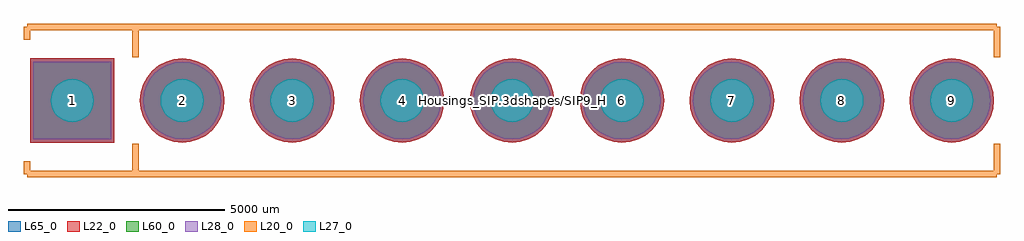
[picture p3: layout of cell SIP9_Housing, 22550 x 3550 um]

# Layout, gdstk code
import gdstk
lib = gdstk.Library(unit=1e-6, precision=1e-09)
def R(c, l, rs):  # rectangles x0, y0, x1, y1
    for r in rs: c.add(gdstk.rectangle(r[:2], r[2:], *l))
def P(c, l, *ps):  # polygons
    for p in ps: c.add(gdstk.Polygon(p, *l))
L20_0 = (20, 0)
L22_0 = (22, 0)
L27_0 = (27, 0)
L28_0 = (28, 0)
L60_0 = (60, 0)
L65_0 = (65, 0)

sip9_housing = lib.new_cell('SIP9_Housing')
R(sip9_housing, L22_0, [(-11135,-975,-9185,975)])
P(sip9_housing, L22_0, [(11135,0),(11116.266,190.213),(11060.783,373.116),(10970.683,541.681),(10849.429,689.429),(10701.681,810.683),(10533.116,900.783),(10350.213,956.266),(10160,975),(9969.787,956.266),(9786.884,900.783),(9618.319,810.683),(9470.571,689.429),(9349.317,541.681),(9259.217,373.116),(9203.734,190.213),(9185,0),(9203.734,-190.213),(9259.217,-373.116),(9349.317,-541.681),(9470.571,-689.429),(9618.319,-810.683),(9786.884,-900.783),(9969.787,-956.266),(10160,-975),(10350.213,-956.266),(10533.116,-900.783),(10701.681,-810.683),(10849.429,-689.429),(10970.683,-541.681),(11060.783,-373.116),(11116.266,-190.213)],
  [(8595,0),(8576.266,190.213),(8520.783,373.116),(8430.683,541.681),(8309.429,689.429),(8161.681,810.683),(7993.116,900.783),(7810.213,956.266),(7620,975),(7429.787,956.266),(7246.884,900.783),(7078.319,810.683),(6930.571,689.429),(6809.317,541.681),(6719.217,373.116),(6663.734,190.213),(6645,0),(6663.734,-190.213),(6719.217,-373.116),(6809.317,-541.681),(6930.571,-689.429),(7078.319,-810.683),(7246.884,-900.783),(7429.787,-956.266),(7620,-975),(7810.213,-956.266),(7993.116,-900.783),(8161.681,-810.683),(8309.429,-689.429),(8430.683,-541.681),(8520.783,-373.116),(8576.266,-190.213)],
  [(6055,0),(6036.266,190.213),(5980.783,373.116),(5890.683,541.681),(5769.429,689.429),(5621.681,810.683),(5453.116,900.783),(5270.213,956.266),(5080,975),(4889.787,956.266),(4706.884,900.783),(4538.319,810.683),(4390.571,689.429),(4269.317,541.681),(4179.217,373.116),(4123.734,190.213),(4105,0),(4123.734,-190.213),(4179.217,-373.116),(4269.317,-541.681),(4390.571,-689.429),(4538.319,-810.683),(4706.884,-900.783),(4889.787,-956.266),(5080,-975),(5270.213,-956.266),(5453.116,-900.783),(5621.681,-810.683),(5769.429,-689.429),(5890.683,-541.681),(5980.783,-373.116),(6036.266,-190.213)],
  [(3515,0),(3496.266,190.213),(3440.783,373.116),(3350.683,541.681),(3229.429,689.429),(3081.681,810.683),(2913.116,900.783),(2730.213,956.266),(2540,975),(2349.787,956.266),(2166.884,900.783),(1998.319,810.683),(1850.571,689.429),(1729.317,541.681),(1639.217,373.116),(1583.734,190.213),(1565,0),(1583.734,-190.213),(1639.217,-373.116),(1729.317,-541.681),(1850.571,-689.429),(1998.319,-810.683),(2166.884,-900.783),(2349.787,-956.266),(2540,-975),(2730.213,-956.266),(2913.116,-900.783),(3081.681,-810.683),(3229.429,-689.429),(3350.683,-541.681),(3440.783,-373.116),(3496.266,-190.213)],
  [(975,0),(956.266,190.213),(900.783,373.116),(810.683,541.681),(689.429,689.429),(541.681,810.683),(373.116,900.783),(190.213,956.266),(0,975),(-190.213,956.266),(-373.116,900.783),(-541.681,810.683),(-689.429,689.429),(-810.683,541.681),(-900.783,373.116),(-956.266,190.213),(-975,0),(-956.266,-190.213),(-900.783,-373.116),(-810.683,-541.681),(-689.429,-689.429),(-541.681,-810.683),(-373.116,-900.783),(-190.213,-956.266),(0,-975),(190.213,-956.266),(373.116,-900.783),(541.681,-810.683),(689.429,-689.429),(810.683,-541.681),(900.783,-373.116),(956.266,-190.213)],
  [(-1565,0),(-1583.734,190.213),(-1639.217,373.116),(-1729.317,541.681),(-1850.571,689.429),(-1998.319,810.683),(-2166.884,900.783),(-2349.787,956.266),(-2540,975),(-2730.213,956.266),(-2913.116,900.783),(-3081.681,810.683),(-3229.429,689.429),(-3350.683,541.681),(-3440.783,373.116),(-3496.266,190.213),(-3515,0),(-3496.266,-190.213),(-3440.783,-373.116),(-3350.683,-541.681),(-3229.429,-689.429),(-3081.681,-810.683),(-2913.116,-900.783),(-2730.213,-956.266),(-2540,-975),(-2349.787,-956.266),(-2166.884,-900.783),(-1998.319,-810.683),(-1850.571,-689.429),(-1729.317,-541.681),(-1639.217,-373.116),(-1583.734,-190.213)],
  [(-4105,0),(-4123.734,190.213),(-4179.217,373.116),(-4269.317,541.681),(-4390.571,689.429),(-4538.319,810.683),(-4706.884,900.783),(-4889.787,956.266),(-5080,975),(-5270.213,956.266),(-5453.116,900.783),(-5621.681,810.683),(-5769.429,689.429),(-5890.683,541.681),(-5980.783,373.116),(-6036.266,190.213),(-6055,0),(-6036.266,-190.213),(-5980.783,-373.116),(-5890.683,-541.681),(-5769.429,-689.429),(-5621.681,-810.683),(-5453.116,-900.783),(-5270.213,-956.266),(-5080,-975),(-4889.787,-956.266),(-4706.884,-900.783),(-4538.319,-810.683),(-4390.571,-689.429),(-4269.317,-541.681),(-4179.217,-373.116),(-4123.734,-190.213)],
  [(-6645,0),(-6663.734,190.213),(-6719.217,373.116),(-6809.317,541.681),(-6930.571,689.429),(-7078.319,810.683),(-7246.884,900.783),(-7429.787,956.266),(-7620,975),(-7810.213,956.266),(-7993.116,900.783),(-8161.681,810.683),(-8309.429,689.429),(-8430.683,541.681),(-8520.783,373.116),(-8576.266,190.213),(-8595,0),(-8576.266,-190.213),(-8520.783,-373.116),(-8430.683,-541.681),(-8309.429,-689.429),(-8161.681,-810.683),(-7993.116,-900.783),(-7810.213,-956.266),(-7620,-975),(-7429.787,-956.266),(-7246.884,-900.783),(-7078.319,-810.683),(-6930.571,-689.429),(-6809.317,-541.681),(-6719.217,-373.116),(-6663.734,-190.213)])
P(sip9_housing, L27_0, [(10659.999,0),(10650.392,97.545),(10621.939,191.341),(10575.734,277.785),(10513.553,353.553),(10437.785,415.734),(10351.341,461.939),(10257.545,490.392),(10160,499.999),(10062.455,490.392),(9968.659,461.939),(9882.215,415.734),(9806.447,353.553),(9744.266,277.785),(9698.061,191.341),(9669.608,97.545),(9660.001,0),(9669.608,-97.545),(9698.061,-191.341),(9744.266,-277.785),(9806.447,-353.553),(9882.215,-415.734),(9968.659,-461.939),(10062.455,-490.392),(10160,-499.999),(10257.545,-490.392),(10351.341,-461.939),(10437.785,-415.734),(10513.553,-353.553),(10575.734,-277.785),(10621.939,-191.341),(10650.392,-97.545)],
  [(8119.999,0),(8110.392,97.545),(8081.939,191.341),(8035.734,277.785),(7973.553,353.553),(7897.785,415.734),(7811.341,461.939),(7717.545,490.392),(7620,499.999),(7522.455,490.392),(7428.659,461.939),(7342.215,415.734),(7266.447,353.553),(7204.266,277.785),(7158.061,191.341),(7129.608,97.545),(7120.001,0),(7129.608,-97.545),(7158.061,-191.341),(7204.266,-277.785),(7266.447,-353.553),(7342.215,-415.734),(7428.659,-461.939),(7522.455,-490.392),(7620,-499.999),(7717.545,-490.392),(7811.341,-461.939),(7897.785,-415.734),(7973.553,-353.553),(8035.734,-277.785),(8081.939,-191.341),(8110.392,-97.545)],
  [(5579.999,0),(5570.392,97.545),(5541.939,191.341),(5495.734,277.785),(5433.553,353.553),(5357.785,415.734),(5271.341,461.939),(5177.545,490.392),(5080,499.999),(4982.455,490.392),(4888.659,461.939),(4802.215,415.734),(4726.447,353.553),(4664.266,277.785),(4618.061,191.341),(4589.608,97.545),(4580.001,0),(4589.608,-97.545),(4618.061,-191.341),(4664.266,-277.785),(4726.447,-353.553),(4802.215,-415.734),(4888.659,-461.939),(4982.455,-490.392),(5080,-499.999),(5177.545,-490.392),(5271.341,-461.939),(5357.785,-415.734),(5433.553,-353.553),(5495.734,-277.785),(5541.939,-191.341),(5570.392,-97.545)],
  [(3039.999,0),(3030.392,97.545),(3001.939,191.341),(2955.734,277.785),(2893.553,353.553),(2817.785,415.734),(2731.341,461.939),(2637.545,490.392),(2540,499.999),(2442.455,490.392),(2348.659,461.939),(2262.215,415.734),(2186.447,353.553),(2124.266,277.785),(2078.061,191.341),(2049.608,97.545),(2040.001,0),(2049.608,-97.545),(2078.061,-191.341),(2124.266,-277.785),(2186.447,-353.553),(2262.215,-415.734),(2348.659,-461.939),(2442.455,-490.392),(2540,-499.999),(2637.545,-490.392),(2731.341,-461.939),(2817.785,-415.734),(2893.553,-353.553),(2955.734,-277.785),(3001.939,-191.341),(3030.392,-97.545)],
  [(499.999,0),(490.392,97.545),(461.939,191.341),(415.734,277.785),(353.553,353.553),(277.785,415.734),(191.341,461.939),(97.545,490.392),(0,499.999),(-97.545,490.392),(-191.341,461.939),(-277.785,415.734),(-353.553,353.553),(-415.734,277.785),(-461.939,191.341),(-490.392,97.545),(-499.999,0),(-490.392,-97.545),(-461.939,-191.341),(-415.734,-277.785),(-353.553,-353.553),(-277.785,-415.734),(-191.341,-461.939),(-97.545,-490.392),(0,-499.999),(97.545,-490.392),(191.341,-461.939),(277.785,-415.734),(353.553,-353.553),(415.734,-277.785),(461.939,-191.341),(490.392,-97.545)],
  [(-2040.001,0),(-2049.608,97.545),(-2078.061,191.341),(-2124.266,277.785),(-2186.447,353.553),(-2262.215,415.734),(-2348.659,461.939),(-2442.455,490.392),(-2540,499.999),(-2637.545,490.392),(-2731.341,461.939),(-2817.785,415.734),(-2893.553,353.553),(-2955.734,277.785),(-3001.939,191.341),(-3030.392,97.545),(-3039.999,0),(-3030.392,-97.545),(-3001.939,-191.341),(-2955.734,-277.785),(-2893.553,-353.553),(-2817.785,-415.734),(-2731.341,-461.939),(-2637.545,-490.392),(-2540,-499.999),(-2442.455,-490.392),(-2348.659,-461.939),(-2262.215,-415.734),(-2186.447,-353.553),(-2124.266,-277.785),(-2078.061,-191.341),(-2049.608,-97.545)],
  [(-4580.001,0),(-4589.608,97.545),(-4618.061,191.341),(-4664.266,277.785),(-4726.447,353.553),(-4802.215,415.734),(-4888.659,461.939),(-4982.455,490.392),(-5080,499.999),(-5177.545,490.392),(-5271.341,461.939),(-5357.785,415.734),(-5433.553,353.553),(-5495.734,277.785),(-5541.939,191.341),(-5570.392,97.545),(-5579.999,0),(-5570.392,-97.545),(-5541.939,-191.341),(-5495.734,-277.785),(-5433.553,-353.553),(-5357.785,-415.734),(-5271.341,-461.939),(-5177.545,-490.392),(-5080,-499.999),(-4982.455,-490.392),(-4888.659,-461.939),(-4802.215,-415.734),(-4726.447,-353.553),(-4664.266,-277.785),(-4618.061,-191.341),(-4589.608,-97.545)],
  [(-7120.001,0),(-7129.608,97.545),(-7158.061,191.341),(-7204.266,277.785),(-7266.447,353.553),(-7342.215,415.734),(-7428.659,461.939),(-7522.455,490.392),(-7620,499.999),(-7717.545,490.392),(-7811.341,461.939),(-7897.785,415.734),(-7973.553,353.553),(-8035.734,277.785),(-8081.939,191.341),(-8110.392,97.545),(-8119.999,0),(-8110.392,-97.545),(-8081.939,-191.341),(-8035.734,-277.785),(-7973.553,-353.553),(-7897.785,-415.734),(-7811.341,-461.939),(-7717.545,-490.392),(-7620,-499.999),(-7522.455,-490.392),(-7428.659,-461.939),(-7342.215,-415.734),(-7266.447,-353.553),(-7204.266,-277.785),(-7158.061,-191.341),(-7129.608,-97.545)],
  [(-9660.001,0),(-9669.608,97.545),(-9698.061,191.341),(-9744.266,277.785),(-9806.447,353.553),(-9882.215,415.734),(-9968.659,461.939),(-10062.455,490.392),(-10160,499.999),(-10257.545,490.392),(-10351.341,461.939),(-10437.785,415.734),(-10513.553,353.553),(-10575.734,277.785),(-10621.939,191.341),(-10650.392,97.545),(-10659.999,0),(-10650.392,-97.545),(-10621.939,-191.341),(-10575.734,-277.785),(-10513.553,-353.553),(-10437.785,-415.734),(-10351.341,-461.939),(-10257.545,-490.392),(-10160,-499.999),(-10062.455,-490.392),(-9968.659,-461.939),(-9882.215,-415.734),(-9806.447,-353.553),(-9744.266,-277.785),(-9698.061,-191.341),(-9669.608,-97.545)])
R(sip9_housing, L28_0, [(-11060,-900,-9260,900)])
P(sip9_housing, L28_0, [(11060,0),(11042.707,175.581),(10991.492,344.415),(10908.323,500.013),(10796.396,636.396),(10660.013,748.323),(10504.415,831.492),(10335.581,882.707),(10160,900),(9984.419,882.707),(9815.585,831.492),(9659.987,748.323),(9523.604,636.396),(9411.677,500.013),(9328.508,344.415),(9277.293,175.581),(9260,0),(9277.293,-175.581),(9328.508,-344.415),(9411.677,-500.013),(9523.604,-636.396),(9659.987,-748.323),(9815.585,-831.492),(9984.419,-882.707),(10160,-900),(10335.581,-882.707),(10504.415,-831.492),(10660.013,-748.323),(10796.396,-636.396),(10908.323,-500.013),(10991.492,-344.415),(11042.707,-175.581)],
  [(8520,0),(8502.707,175.581),(8451.492,344.415),(8368.323,500.013),(8256.396,636.396),(8120.013,748.323),(7964.415,831.492),(7795.581,882.707),(7620,900),(7444.419,882.707),(7275.585,831.492),(7119.987,748.323),(6983.604,636.396),(6871.677,500.013),(6788.508,344.415),(6737.293,175.581),(6720,0),(6737.293,-175.581),(6788.508,-344.415),(6871.677,-500.013),(6983.604,-636.396),(7119.987,-748.323),(7275.585,-831.492),(7444.419,-882.707),(7620,-900),(7795.581,-882.707),(7964.415,-831.492),(8120.013,-748.323),(8256.396,-636.396),(8368.323,-500.013),(8451.492,-344.415),(8502.707,-175.581)],
  [(5980,0),(5962.707,175.581),(5911.492,344.415),(5828.323,500.013),(5716.396,636.396),(5580.013,748.323),(5424.415,831.492),(5255.581,882.707),(5080,900),(4904.419,882.707),(4735.585,831.492),(4579.987,748.323),(4443.604,636.396),(4331.677,500.013),(4248.508,344.415),(4197.293,175.581),(4180,0),(4197.293,-175.581),(4248.508,-344.415),(4331.677,-500.013),(4443.604,-636.396),(4579.987,-748.323),(4735.585,-831.492),(4904.419,-882.707),(5080,-900),(5255.581,-882.707),(5424.415,-831.492),(5580.013,-748.323),(5716.396,-636.396),(5828.323,-500.013),(5911.492,-344.415),(5962.707,-175.581)],
  [(3440,0),(3422.707,175.581),(3371.492,344.415),(3288.323,500.013),(3176.396,636.396),(3040.013,748.323),(2884.415,831.492),(2715.581,882.707),(2540,900),(2364.419,882.707),(2195.585,831.492),(2039.987,748.323),(1903.604,636.396),(1791.677,500.013),(1708.508,344.415),(1657.293,175.581),(1640,0),(1657.293,-175.581),(1708.508,-344.415),(1791.677,-500.013),(1903.604,-636.396),(2039.987,-748.323),(2195.585,-831.492),(2364.419,-882.707),(2540,-900),(2715.581,-882.707),(2884.415,-831.492),(3040.013,-748.323),(3176.396,-636.396),(3288.323,-500.013),(3371.492,-344.415),(3422.707,-175.581)],
  [(900,0),(882.707,175.581),(831.492,344.415),(748.323,500.013),(636.396,636.396),(500.013,748.323),(344.415,831.492),(175.581,882.707),(0,900),(-175.581,882.707),(-344.415,831.492),(-500.013,748.323),(-636.396,636.396),(-748.323,500.013),(-831.492,344.415),(-882.707,175.581),(-900,0),(-882.707,-175.581),(-831.492,-344.415),(-748.323,-500.013),(-636.396,-636.396),(-500.013,-748.323),(-344.415,-831.492),(-175.581,-882.707),(0,-900),(175.581,-882.707),(344.415,-831.492),(500.013,-748.323),(636.396,-636.396),(748.323,-500.013),(831.492,-344.415),(882.707,-175.581)],
  [(-1640,0),(-1657.293,175.581),(-1708.508,344.415),(-1791.677,500.013),(-1903.604,636.396),(-2039.987,748.323),(-2195.585,831.492),(-2364.419,882.707),(-2540,900),(-2715.581,882.707),(-2884.415,831.492),(-3040.013,748.323),(-3176.396,636.396),(-3288.323,500.013),(-3371.492,344.415),(-3422.707,175.581),(-3440,0),(-3422.707,-175.581),(-3371.492,-344.415),(-3288.323,-500.013),(-3176.396,-636.396),(-3040.013,-748.323),(-2884.415,-831.492),(-2715.581,-882.707),(-2540,-900),(-2364.419,-882.707),(-2195.585,-831.492),(-2039.987,-748.323),(-1903.604,-636.396),(-1791.677,-500.013),(-1708.508,-344.415),(-1657.293,-175.581)],
  [(-4180,0),(-4197.293,175.581),(-4248.508,344.415),(-4331.677,500.013),(-4443.604,636.396),(-4579.987,748.323),(-4735.585,831.492),(-4904.419,882.707),(-5080,900),(-5255.581,882.707),(-5424.415,831.492),(-5580.013,748.323),(-5716.396,636.396),(-5828.323,500.013),(-5911.492,344.415),(-5962.707,175.581),(-5980,0),(-5962.707,-175.581),(-5911.492,-344.415),(-5828.323,-500.013),(-5716.396,-636.396),(-5580.013,-748.323),(-5424.415,-831.492),(-5255.581,-882.707),(-5080,-900),(-4904.419,-882.707),(-4735.585,-831.492),(-4579.987,-748.323),(-4443.604,-636.396),(-4331.677,-500.013),(-4248.508,-344.415),(-4197.293,-175.581)],
  [(-6720,0),(-6737.293,175.581),(-6788.508,344.415),(-6871.677,500.013),(-6983.604,636.396),(-7119.987,748.323),(-7275.585,831.492),(-7444.419,882.707),(-7620,900),(-7795.581,882.707),(-7964.415,831.492),(-8120.013,748.323),(-8256.396,636.396),(-8368.323,500.013),(-8451.492,344.415),(-8502.707,175.581),(-8520,0),(-8502.707,-175.581),(-8451.492,-344.415),(-8368.323,-500.013),(-8256.396,-636.396),(-8120.013,-748.323),(-7964.415,-831.492),(-7795.581,-882.707),(-7620,-900),(-7444.419,-882.707),(-7275.585,-831.492),(-7119.987,-748.323),(-6983.604,-636.396),(-6871.677,-500.013),(-6788.508,-344.415),(-6737.293,-175.581)])
R(sip9_housing, L60_0, [(-11060,-900,-9260,900)])
P(sip9_housing, L60_0, [(11060,0),(11042.707,175.581),(10991.492,344.415),(10908.323,500.013),(10796.396,636.396),(10660.013,748.323),(10504.415,831.492),(10335.581,882.707),(10160,900),(9984.419,882.707),(9815.585,831.492),(9659.987,748.323),(9523.604,636.396),(9411.677,500.013),(9328.508,344.415),(9277.293,175.581),(9260,0),(9277.293,-175.581),(9328.508,-344.415),(9411.677,-500.013),(9523.604,-636.396),(9659.987,-748.323),(9815.585,-831.492),(9984.419,-882.707),(10160,-900),(10335.581,-882.707),(10504.415,-831.492),(10660.013,-748.323),(10796.396,-636.396),(10908.323,-500.013),(10991.492,-344.415),(11042.707,-175.581)],
  [(8520,0),(8502.707,175.581),(8451.492,344.415),(8368.323,500.013),(8256.396,636.396),(8120.013,748.323),(7964.415,831.492),(7795.581,882.707),(7620,900),(7444.419,882.707),(7275.585,831.492),(7119.987,748.323),(6983.604,636.396),(6871.677,500.013),(6788.508,344.415),(6737.293,175.581),(6720,0),(6737.293,-175.581),(6788.508,-344.415),(6871.677,-500.013),(6983.604,-636.396),(7119.987,-748.323),(7275.585,-831.492),(7444.419,-882.707),(7620,-900),(7795.581,-882.707),(7964.415,-831.492),(8120.013,-748.323),(8256.396,-636.396),(8368.323,-500.013),(8451.492,-344.415),(8502.707,-175.581)],
  [(5980,0),(5962.707,175.581),(5911.492,344.415),(5828.323,500.013),(5716.396,636.396),(5580.013,748.323),(5424.415,831.492),(5255.581,882.707),(5080,900),(4904.419,882.707),(4735.585,831.492),(4579.987,748.323),(4443.604,636.396),(4331.677,500.013),(4248.508,344.415),(4197.293,175.581),(4180,0),(4197.293,-175.581),(4248.508,-344.415),(4331.677,-500.013),(4443.604,-636.396),(4579.987,-748.323),(4735.585,-831.492),(4904.419,-882.707),(5080,-900),(5255.581,-882.707),(5424.415,-831.492),(5580.013,-748.323),(5716.396,-636.396),(5828.323,-500.013),(5911.492,-344.415),(5962.707,-175.581)],
  [(3440,0),(3422.707,175.581),(3371.492,344.415),(3288.323,500.013),(3176.396,636.396),(3040.013,748.323),(2884.415,831.492),(2715.581,882.707),(2540,900),(2364.419,882.707),(2195.585,831.492),(2039.987,748.323),(1903.604,636.396),(1791.677,500.013),(1708.508,344.415),(1657.293,175.581),(1640,0),(1657.293,-175.581),(1708.508,-344.415),(1791.677,-500.013),(1903.604,-636.396),(2039.987,-748.323),(2195.585,-831.492),(2364.419,-882.707),(2540,-900),(2715.581,-882.707),(2884.415,-831.492),(3040.013,-748.323),(3176.396,-636.396),(3288.323,-500.013),(3371.492,-344.415),(3422.707,-175.581)],
  [(900,0),(882.707,175.581),(831.492,344.415),(748.323,500.013),(636.396,636.396),(500.013,748.323),(344.415,831.492),(175.581,882.707),(0,900),(-175.581,882.707),(-344.415,831.492),(-500.013,748.323),(-636.396,636.396),(-748.323,500.013),(-831.492,344.415),(-882.707,175.581),(-900,0),(-882.707,-175.581),(-831.492,-344.415),(-748.323,-500.013),(-636.396,-636.396),(-500.013,-748.323),(-344.415,-831.492),(-175.581,-882.707),(0,-900),(175.581,-882.707),(344.415,-831.492),(500.013,-748.323),(636.396,-636.396),(748.323,-500.013),(831.492,-344.415),(882.707,-175.581)],
  [(-1640,0),(-1657.293,175.581),(-1708.508,344.415),(-1791.677,500.013),(-1903.604,636.396),(-2039.987,748.323),(-2195.585,831.492),(-2364.419,882.707),(-2540,900),(-2715.581,882.707),(-2884.415,831.492),(-3040.013,748.323),(-3176.396,636.396),(-3288.323,500.013),(-3371.492,344.415),(-3422.707,175.581),(-3440,0),(-3422.707,-175.581),(-3371.492,-344.415),(-3288.323,-500.013),(-3176.396,-636.396),(-3040.013,-748.323),(-2884.415,-831.492),(-2715.581,-882.707),(-2540,-900),(-2364.419,-882.707),(-2195.585,-831.492),(-2039.987,-748.323),(-1903.604,-636.396),(-1791.677,-500.013),(-1708.508,-344.415),(-1657.293,-175.581)],
  [(-4180,0),(-4197.293,175.581),(-4248.508,344.415),(-4331.677,500.013),(-4443.604,636.396),(-4579.987,748.323),(-4735.585,831.492),(-4904.419,882.707),(-5080,900),(-5255.581,882.707),(-5424.415,831.492),(-5580.013,748.323),(-5716.396,636.396),(-5828.323,500.013),(-5911.492,344.415),(-5962.707,175.581),(-5980,0),(-5962.707,-175.581),(-5911.492,-344.415),(-5828.323,-500.013),(-5716.396,-636.396),(-5580.013,-748.323),(-5424.415,-831.492),(-5255.581,-882.707),(-5080,-900),(-4904.419,-882.707),(-4735.585,-831.492),(-4579.987,-748.323),(-4443.604,-636.396),(-4331.677,-500.013),(-4248.508,-344.415),(-4197.293,-175.581)],
  [(-6720,0),(-6737.293,175.581),(-6788.508,344.415),(-6871.677,500.013),(-6983.604,636.396),(-7119.987,748.323),(-7275.585,831.492),(-7444.419,882.707),(-7620,900),(-7795.581,882.707),(-7964.415,831.492),(-8120.013,748.323),(-8256.396,636.396),(-8368.323,500.013),(-8451.492,344.415),(-8502.707,175.581),(-8520,0),(-8502.707,-175.581),(-8451.492,-344.415),(-8368.323,-500.013),(-8256.396,-636.396),(-8120.013,-748.323),(-7964.415,-831.492),(-7795.581,-882.707),(-7620,-900),(-7444.419,-882.707),(-7275.585,-831.492),(-7119.987,-748.323),(-6983.604,-636.396),(-6871.677,-500.013),(-6788.508,-344.415),(-6737.293,-175.581)])
R(sip9_housing, L65_0, [(-11135,-975,-9185,975)])
P(sip9_housing, L65_0, [(11135,0),(11116.266,190.213),(11060.783,373.116),(10970.683,541.681),(10849.429,689.429),(10701.681,810.683),(10533.116,900.783),(10350.213,956.266),(10160,975),(9969.787,956.266),(9786.884,900.783),(9618.319,810.683),(9470.571,689.429),(9349.317,541.681),(9259.217,373.116),(9203.734,190.213),(9185,0),(9203.734,-190.213),(9259.217,-373.116),(9349.317,-541.681),(9470.571,-689.429),(9618.319,-810.683),(9786.884,-900.783),(9969.787,-956.266),(10160,-975),(10350.213,-956.266),(10533.116,-900.783),(10701.681,-810.683),(10849.429,-689.429),(10970.683,-541.681),(11060.783,-373.116),(11116.266,-190.213)],
  [(8595,0),(8576.266,190.213),(8520.783,373.116),(8430.683,541.681),(8309.429,689.429),(8161.681,810.683),(7993.116,900.783),(7810.213,956.266),(7620,975),(7429.787,956.266),(7246.884,900.783),(7078.319,810.683),(6930.571,689.429),(6809.317,541.681),(6719.217,373.116),(6663.734,190.213),(6645,0),(6663.734,-190.213),(6719.217,-373.116),(6809.317,-541.681),(6930.571,-689.429),(7078.319,-810.683),(7246.884,-900.783),(7429.787,-956.266),(7620,-975),(7810.213,-956.266),(7993.116,-900.783),(8161.681,-810.683),(8309.429,-689.429),(8430.683,-541.681),(8520.783,-373.116),(8576.266,-190.213)],
  [(6055,0),(6036.266,190.213),(5980.783,373.116),(5890.683,541.681),(5769.429,689.429),(5621.681,810.683),(5453.116,900.783),(5270.213,956.266),(5080,975),(4889.787,956.266),(4706.884,900.783),(4538.319,810.683),(4390.571,689.429),(4269.317,541.681),(4179.217,373.116),(4123.734,190.213),(4105,0),(4123.734,-190.213),(4179.217,-373.116),(4269.317,-541.681),(4390.571,-689.429),(4538.319,-810.683),(4706.884,-900.783),(4889.787,-956.266),(5080,-975),(5270.213,-956.266),(5453.116,-900.783),(5621.681,-810.683),(5769.429,-689.429),(5890.683,-541.681),(5980.783,-373.116),(6036.266,-190.213)],
  [(3515,0),(3496.266,190.213),(3440.783,373.116),(3350.683,541.681),(3229.429,689.429),(3081.681,810.683),(2913.116,900.783),(2730.213,956.266),(2540,975),(2349.787,956.266),(2166.884,900.783),(1998.319,810.683),(1850.571,689.429),(1729.317,541.681),(1639.217,373.116),(1583.734,190.213),(1565,0),(1583.734,-190.213),(1639.217,-373.116),(1729.317,-541.681),(1850.571,-689.429),(1998.319,-810.683),(2166.884,-900.783),(2349.787,-956.266),(2540,-975),(2730.213,-956.266),(2913.116,-900.783),(3081.681,-810.683),(3229.429,-689.429),(3350.683,-541.681),(3440.783,-373.116),(3496.266,-190.213)],
  [(975,0),(956.266,190.213),(900.783,373.116),(810.683,541.681),(689.429,689.429),(541.681,810.683),(373.116,900.783),(190.213,956.266),(0,975),(-190.213,956.266),(-373.116,900.783),(-541.681,810.683),(-689.429,689.429),(-810.683,541.681),(-900.783,373.116),(-956.266,190.213),(-975,0),(-956.266,-190.213),(-900.783,-373.116),(-810.683,-541.681),(-689.429,-689.429),(-541.681,-810.683),(-373.116,-900.783),(-190.213,-956.266),(0,-975),(190.213,-956.266),(373.116,-900.783),(541.681,-810.683),(689.429,-689.429),(810.683,-541.681),(900.783,-373.116),(956.266,-190.213)],
  [(-1565,0),(-1583.734,190.213),(-1639.217,373.116),(-1729.317,541.681),(-1850.571,689.429),(-1998.319,810.683),(-2166.884,900.783),(-2349.787,956.266),(-2540,975),(-2730.213,956.266),(-2913.116,900.783),(-3081.681,810.683),(-3229.429,689.429),(-3350.683,541.681),(-3440.783,373.116),(-3496.266,190.213),(-3515,0),(-3496.266,-190.213),(-3440.783,-373.116),(-3350.683,-541.681),(-3229.429,-689.429),(-3081.681,-810.683),(-2913.116,-900.783),(-2730.213,-956.266),(-2540,-975),(-2349.787,-956.266),(-2166.884,-900.783),(-1998.319,-810.683),(-1850.571,-689.429),(-1729.317,-541.681),(-1639.217,-373.116),(-1583.734,-190.213)],
  [(-4105,0),(-4123.734,190.213),(-4179.217,373.116),(-4269.317,541.681),(-4390.571,689.429),(-4538.319,810.683),(-4706.884,900.783),(-4889.787,956.266),(-5080,975),(-5270.213,956.266),(-5453.116,900.783),(-5621.681,810.683),(-5769.429,689.429),(-5890.683,541.681),(-5980.783,373.116),(-6036.266,190.213),(-6055,0),(-6036.266,-190.213),(-5980.783,-373.116),(-5890.683,-541.681),(-5769.429,-689.429),(-5621.681,-810.683),(-5453.116,-900.783),(-5270.213,-956.266),(-5080,-975),(-4889.787,-956.266),(-4706.884,-900.783),(-4538.319,-810.683),(-4390.571,-689.429),(-4269.317,-541.681),(-4179.217,-373.116),(-4123.734,-190.213)],
  [(-6645,0),(-6663.734,190.213),(-6719.217,373.116),(-6809.317,541.681),(-6930.571,689.429),(-7078.319,810.683),(-7246.884,900.783),(-7429.787,956.266),(-7620,975),(-7810.213,956.266),(-7993.116,900.783),(-8161.681,810.683),(-8309.429,689.429),(-8430.683,541.681),(-8520.783,373.116),(-8576.266,190.213),(-8595,0),(-8576.266,-190.213),(-8520.783,-373.116),(-8430.683,-541.681),(-8309.429,-689.429),(-8161.681,-810.683),(-7993.116,-900.783),(-7810.213,-956.266),(-7620,-975),(-7429.787,-956.266),(-7246.884,-900.783),(-7078.319,-810.683),(-6930.571,-689.429),(-6809.317,-541.681),(-6719.217,-373.116),(-6663.734,-190.213)])
sip9_housing.add(gdstk.FlexPath([(11200,1700),(11200,1100)], 149.998, ends="flush", simple_path=True, layer=20, datatype=0))  # L20_0
sip9_housing.add(gdstk.FlexPath([(0,1700),(11200,1700)], 149.998, ends="flush", simple_path=True, layer=20, datatype=0))  # L20_0
sip9_housing.add(gdstk.FlexPath([(-11200,1700),(-11200,1400)], 149.998, ends="flush", simple_path=True, layer=20, datatype=0))  # L20_0
sip9_housing.add(gdstk.FlexPath([(100,1700),(-11200,1700)], 149.998, ends="flush", simple_path=True, layer=20, datatype=0))  # L20_0
sip9_housing.add(gdstk.FlexPath([(11200,-1700),(11200,-1000)], 149.998, ends="flush", simple_path=True, layer=20, datatype=0))  # L20_0
sip9_housing.add(gdstk.FlexPath([(0,-1700),(11200,-1700)], 149.998, ends="flush", simple_path=True, layer=20, datatype=0))  # L20_0
sip9_housing.add(gdstk.FlexPath([(11200,1200),(11200,1000)], 149.998, ends="flush", simple_path=True, layer=20, datatype=0))  # L20_0
sip9_housing.add(gdstk.FlexPath([(-11200,-1700),(-11200,-1400)], 149.998, ends="flush", simple_path=True, layer=20, datatype=0))  # L20_0
sip9_housing.add(gdstk.FlexPath([(0,-1700),(-11200,-1700)], 149.998, ends="flush", simple_path=True, layer=20, datatype=0))  # L20_0
sip9_housing.add(gdstk.FlexPath([(-8700,1700),(-8700,1000)], 149.998, ends="flush", simple_path=True, layer=20, datatype=0))  # L20_0
sip9_housing.add(gdstk.FlexPath([(-8700,-1700),(-8700,-1000)], 149.998, ends="flush", simple_path=True, layer=20, datatype=0))  # L20_0
sip9_housing.add(gdstk.Label('Housings_SIP.3dshapes/SIP9_Housing.wrl', (0,0), layer=12, texttype=0))
sip9_housing.add(gdstk.Label('9', (10160,0), layer=28, texttype=0))
sip9_housing.add(gdstk.Label('8', (7620,0), layer=28, texttype=0))
sip9_housing.add(gdstk.Label('7', (5080,0), layer=28, texttype=0))
sip9_housing.add(gdstk.Label('6', (2540,0), layer=28, texttype=0))
sip9_housing.add(gdstk.Label('5', (0,0), layer=28, texttype=0))
sip9_housing.add(gdstk.Label('4', (-2540,0), layer=28, texttype=0))
sip9_housing.add(gdstk.Label('3', (-5080,0), layer=28, texttype=0))
sip9_housing.add(gdstk.Label('2', (-7620,0), layer=28, texttype=0))
sip9_housing.add(gdstk.Label('1', (-10160,0), layer=28, texttype=0))
sip9_housing.add(gdstk.Label('type', (-100,-3700), layer=9, texttype=0))
sip9_housing.add(gdstk.Label('devicename', (0,3600), layer=9, texttype=0))

lib.write_gds('SIP9_Housing.gds')
